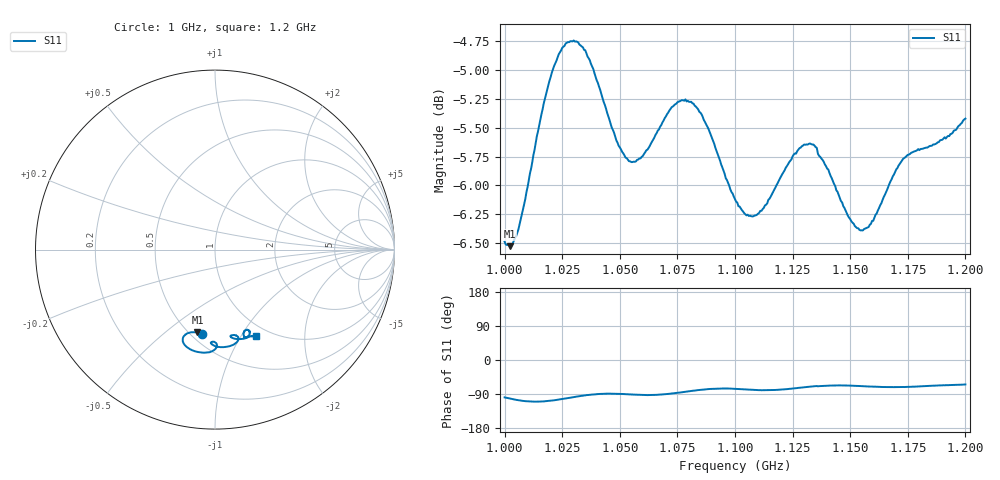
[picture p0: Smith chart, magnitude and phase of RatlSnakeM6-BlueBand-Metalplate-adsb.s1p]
! NanoVNA-App
! Date: 2026-05-22 19:38:12
! Start: 1GHz Stop: 1.2GHz Points: 401
! S-Parameter data: F S11
# Hz S RI R 50
!  Frequency  S11_Real  S11_Imag
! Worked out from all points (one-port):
!   401 points, 1 GHz to 1.2 GHz, reference 50 ohm
!   lowest |S11| = -6.5 dB at 1.002 GHz (marker M1), VSWR 2.79, Z = 27.4 - j32.5 ohm
!   |S11| at or under -10 dB: nowhere
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1e9  -0.0712 -0.4686
1.0025e9  -0.0981 -0.4616
1.009e9  -0.1578 -0.4688
1.014e9  -0.1792 -0.4949
1.019e9  -0.1719 -0.5265
1.025e9  -0.13 -0.5597
1.031e9  -0.0698 -0.574
1.0385e9  -0.00976 -0.5625
1.044e9  0.0107 -0.5409
1.05e9  0.0056 -0.5205
1.056e9  -0.0114 -0.513
1.063e9  -0.0232 -0.5207
1.069e9  -0.00634 -0.5345
1.075e9  0.0311 -0.5435
1.084e9  0.0992 -0.5314
1.0885e9  0.1215 -0.516
1.0945e9  0.1303 -0.4934
1.1e9  0.12 -0.4797
1.113e9  0.0876 -0.4835
1.118e9  0.0968 -0.4919
1.125e9  0.1313 -0.4989
1.1345e9  0.1854 -0.4874
1.143e9  0.1933 -0.4632
1.15e9  0.1847 -0.4482
1.1565e9  0.1692 -0.4494
1.1635e9  0.1588 -0.466
1.175e9  0.1685 -0.4884
1.2e9  0.2307 -0.4834
